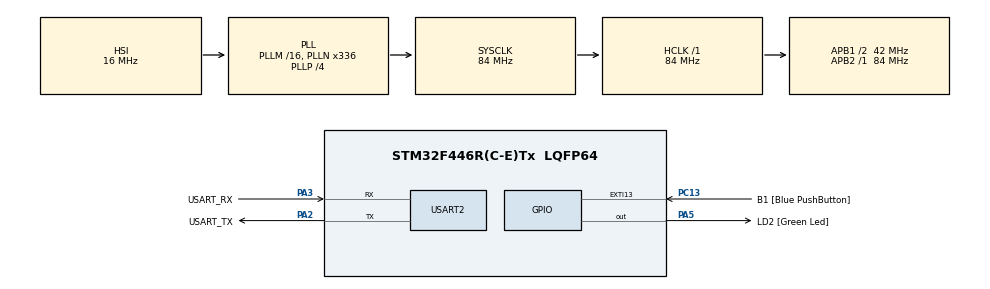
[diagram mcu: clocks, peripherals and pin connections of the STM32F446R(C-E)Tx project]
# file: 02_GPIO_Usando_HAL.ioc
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Mcu.Family=STM32F4
Mcu.Name=STM32F446R(C-E)Tx
Mcu.Package=LQFP64
NVIC.PriorityGroup=NVIC_PRIORITYGROUP_0
PA13.GPIO_Label=TMS
PA13.Mode=Serial_Wire
PA13.Signal=SYS_JTMS-SWDIO
PA14.GPIO_Label=TCK
PA14.Mode=Serial_Wire
PA14.Signal=SYS_JTCK-SWCLK
PA2.GPIO_Label=USART_TX
PA2.Mode=Asynchronous
PA2.Signal=USART2_TX
PA3.GPIO_Label=USART_RX
PA3.Mode=Asynchronous
PA3.Signal=USART2_RX
PA5.GPIO_Label=LD2 [Green Led]
PA5.Signal=GPIO_Output
PB3.GPIO_Label=SWO
PB3.Signal=SYS_JTDO-SWO
PC13.GPIO_Label=B1 [Blue PushButton]
PC13.GPIO_ModeDefaultEXTI=GPIO_MODE_IT_FALLING
PC13.Signal=GPXTI13
PC14-OSC32_IN.Mode=LSE-External-Oscillator
PC14-OSC32_IN.Signal=RCC_OSC32_IN
PC15-OSC32_OUT.Mode=LSE-External-Oscillator
PC15-OSC32_OUT.Signal=RCC_OSC32_OUT
PH0-OSC_IN.Mode=HSE-External-Oscillator
PH0-OSC_IN.Signal=RCC_OSC_IN
PH1-OSC_OUT.Mode=HSE-External-Oscillator
PH1-OSC_OUT.Signal=RCC_OSC_OUT
ProjectManager.HeapSize=0x200
ProjectManager.StackSize=0x400
ProjectManager.TargetToolchain=STM32CubeIDE
RCC.48MHZClocksFreq_Value=84000000
RCC.AHBFreq_Value=84000000
RCC.APB1CLKDivider=RCC_HCLK_DIV2
RCC.APB1Freq_Value=42000000
RCC.APB1TimFreq_Value=84000000
RCC.APB2Freq_Value=84000000
RCC.APB2TimFreq_Value=84000000
RCC.CortexFreq_Value=84000000
RCC.FLatency-AdvancedSettings=FLASH_LATENCY_2
RCC.HCLKFreq_Value=84000000
RCC.HSE_VALUE=8000000
RCC.HSI_VALUE=16000000
RCC.PLLN=336
RCC.PLLP=RCC_PLLP_DIV4
RCC.SYSCLKFreq_VALUE=84000000
RCC.SYSCLKSource=RCC_SYSCLKSOURCE_PLLCLK
RCC.USBFreq_Value=168000000
RCC.VCOOutputFreq_Value=336000000
USART2.VirtualMode=VM_ASYNC
board=NUCLEO-F446RE

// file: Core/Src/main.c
/* USER CODE BEGIN Header */
/**
  ******************************************************************************
  * @file           : main.c
  * @brief          : Main program body
  ******************************************************************************
  * @attention
  *
  * Copyright (c) 2022 STMicroelectronics.
  * All rights reserved.
  *
  * This software is licensed under terms that can be found in the LICENSE file
  * in the root directory of this software component.
  * If no LICENSE file comes with this software, it is provided AS-IS.
  *
  ******************************************************************************
  */
/* USER CODE END Header */
#include "main.h"

UART_HandleTypeDef huart2;

void SystemClock_Config(void);
//static void MX_GPIO_Init(void);
static void MX_USART2_UART_Init(void);
/* USER CODE BEGIN PFP */

void GPIOA_5_inicializa();
void GPIOA_5_inicializa_HAL();
void GPIOC_13_inicializa_HAL();

/* USER CODE END PFP */

int main(void)
{

  /* MCU Configuration--------------------------------------------------------*/

  /* Reset of all peripherals, Initializes the Flash interface and the Systick. */
  HAL_Init();

  /* Configure the system clock */
  SystemClock_Config();

  /* Initialize all configured peripherals */
  //MX_GPIO_Init();
  MX_USART2_UART_Init();
  /* USER CODE BEGIN 2 */
  //GPIOA_5_inicializa();
  GPIOA_5_inicializa_HAL();
  GPIOC_13_inicializa_HAL();
  /* USER CODE BEGIN 2 */

  /* USER CODE END 2 */

  /* Infinite loop */
  while (1)
  {

    /* USER CODE BEGIN 3 */
//	  GPIOA->ODR = 0xFFFF;
//	  //GPIOA->ODR |= 1<<5;
//	  //GPIOA->ODR |= LD2_Pin;
//	  //GPIOA->ODR = GPIOA->ODR | 1<<5;
//	  HAL_Delay(500);
//	  GPIOA->ODR = 0x0000;
//	  //GPIOA->ODR &= ~(1<<5);
//	  //GPIOA->ODR &= ~(LD2_Pin);
//	  HAL_Delay(500);

	  while(HAL_GPIO_ReadPin(GPIOC, GPIO_PIN_13) == GPIO_PIN_RESET)
	  {
		  HAL_GPIO_TogglePin(GPIOA, GPIO_PIN_5);
		  HAL_Delay(100);
	  }

	  HAL_GPIO_WritePin(GPIOA, GPIO_PIN_5, GPIO_PIN_RESET);
  }
  /* USER CODE END 3 */
}

void SystemClock_Config(void)
{
  RCC_OscInitTypeDef RCC_OscInitStruct = {0};
  RCC_ClkInitTypeDef RCC_ClkInitStruct = {0};

  /** Configure the main internal regulator output voltage
  */
  __HAL_RCC_PWR_CLK_ENABLE();
  __HAL_PWR_VOLTAGESCALING_CONFIG(PWR_REGULATOR_VOLTAGE_SCALE3);

  /** Initializes the RCC Oscillators according to the specified parameters
  * in the RCC_OscInitTypeDef structure.
  */
  RCC_OscInitStruct.OscillatorType = RCC_OSCILLATORTYPE_HSI;
  RCC_OscInitStruct.HSIState = RCC_HSI_ON;
  RCC_OscInitStruct.HSICalibrationValue = RCC_HSICALIBRATION_DEFAULT;
  RCC_OscInitStruct.PLL.PLLState = RCC_PLL_ON;
  RCC_OscInitStruct.PLL.PLLSource = RCC_PLLSOURCE_HSI;
  RCC_OscInitStruct.PLL.PLLM = 16;
  RCC_OscInitStruct.PLL.PLLN = 336;
  RCC_OscInitStruct.PLL.PLLP = RCC_PLLP_DIV4;
  RCC_OscInitStruct.PLL.PLLQ = 2;
  RCC_OscInitStruct.PLL.PLLR = 2;
  if (HAL_RCC_OscConfig(&RCC_OscInitStruct) != HAL_OK)
  {
    Error_Handler();
  }

  /** Initializes the CPU, AHB and APB buses clocks
  */
  RCC_ClkInitStruct.ClockType = RCC_CLOCKTYPE_HCLK|RCC_CLOCKTYPE_SYSCLK
                              |RCC_CLOCKTYPE_PCLK1|RCC_CLOCKTYPE_PCLK2;
  RCC_ClkInitStruct.SYSCLKSource = RCC_SYSCLKSOURCE_PLLCLK;
  RCC_ClkInitStruct.AHBCLKDivider = RCC_SYSCLK_DIV1;
  RCC_ClkInitStruct.APB1CLKDivider = RCC_HCLK_DIV2;
  RCC_ClkInitStruct.APB2CLKDivider = RCC_HCLK_DIV1;

  if (HAL_RCC_ClockConfig(&RCC_ClkInitStruct, FLASH_LATENCY_2) != HAL_OK)
  {
    Error_Handler();
  }
}

static void MX_USART2_UART_Init(void)
{

  huart2.Instance = USART2;
  huart2.Init.BaudRate = 115200;
  huart2.Init.WordLength = UART_WORDLENGTH_8B;
  huart2.Init.StopBits = UART_STOPBITS_1;
  huart2.Init.Parity = UART_PARITY_NONE;
  huart2.Init.Mode = UART_MODE_TX_RX;
  huart2.Init.HwFlowCtl = UART_HWCONTROL_NONE;
  huart2.Init.OverSampling = UART_OVERSAMPLING_16;
  if (HAL_UART_Init(&huart2) != HAL_OK)
  {
    Error_Handler();
  }

}

static void MX_GPIO_Init(void)
{
  GPIO_InitTypeDef GPIO_InitStruct = {0};

  /* GPIO Ports Clock Enable */
  __HAL_RCC_GPIOC_CLK_ENABLE();
  __HAL_RCC_GPIOH_CLK_ENABLE();
  __HAL_RCC_GPIOA_CLK_ENABLE();
  __HAL_RCC_GPIOB_CLK_ENABLE();

  /*Configure GPIO pin Output Level */
  HAL_GPIO_WritePin(LD2_GPIO_Port, LD2_Pin, GPIO_PIN_RESET);

  /*Configure GPIO pin : B1_Pin */
  GPIO_InitStruct.Pin = B1_Pin;
  GPIO_InitStruct.Mode = GPIO_MODE_IT_FALLING;
  GPIO_InitStruct.Pull = GPIO_NOPULL;
  HAL_GPIO_Init(B1_GPIO_Port, &GPIO_InitStruct);

  /*Configure GPIO pin : LD2_Pin */
  GPIO_InitStruct.Pin = LD2_Pin;
  GPIO_InitStruct.Mode = GPIO_MODE_OUTPUT_PP;
  GPIO_InitStruct.Pull = GPIO_NOPULL;
  GPIO_InitStruct.Speed = GPIO_SPEED_FREQ_LOW;
  HAL_GPIO_Init(LD2_GPIO_Port, &GPIO_InitStruct);

}

/* USER CODE BEGIN 4 */
//Inicializa o PORTA.5 (led)
void GPIOA_5_inicializa()
{
#if MASCARA
	uint32_t tmpreg = 0;
	RCC->AHB1ENR |= RCC_AHB1ENR_GPIOAEN; //Habilita o clock do PORTA
	tmpreg = RCC->AHB1ENR; //Aguarda estabilizar

	GPIOA->MODER = (GPIOA->MODER & ~GPIO_MODER_MODE5_Msk) | GPIO_MODER_MODE5_0;//M. saída (01)

	GPIOA->OTYPER = (GPIOA->OTYPER & ~GPIO_OTYPER_OT5_Msk); //Tipo push-pull (0)

	GPIOA->OSPEEDR = (GPIOA->OSPEEDR & ~GPIO_OSPEEDR_OSPEED5_Msk) | GPIO_OSPEEDER_OSPEEDR5_1;//Velocidade fast (10)

	GPIOA->PUPDR = (GPIOA->PUPDR & ~GPIO_PUPDR_PUPD5_Msk); //Sem resistores internos (00)

	//GPIOA->ODR = (GPIOA->ODR & ~GPIO_ODR_OD5_Msk); //Estado inicial '0'
	GPIOA->BSRR = GPIO_BSRR_BR5; //Estado inicial resetado '0’
#else
	uint32_t tmpreg = 0;
	RCC->AHB1ENR |= 0x01; //Habilita o clock do PORTA

	tmpreg = RCC->AHB1ENR; //Aguarda estabilizar

	GPIOA->MODER = (GPIOA->MODER & ~(0x3<<(2*5))) | (0x1<<(2*5));//Modo saída (01)

	GPIOA->OTYPER = (GPIOA->OTYPER & ~0x1<<5); //Tipo push-pull (0)

	GPIOA->OSPEEDR = (GPIOA->OSPEEDR & ~(0x3<<(2*5))) | (0x2<<(2*5)); //Velocidade fast (10)

	GPIOA->PUPDR = (GPIOA->PUPDR & ~(0x3<<(2*5))); //Sem resistores internos (00)

	//GPIOA->ODR = (GPIOA->ODR & ~0x1<<5); //Estado inicial '0’
	GPIOA->BSRR = 0x1<<(5+16); //Estado inicial resetado '0’
#endif

}

//Inicializa o PORTA.5 (led)
void GPIOA_5_inicializa_HAL()
{
	//Cria uma estrutura de inicialização
	GPIO_InitTypeDef GPIO_InitStruct;

	//Habilita o clock do periférico
	__HAL_RCC_GPIOA_CLK_ENABLE();

	//Preenche os parâmetro na estrutura de inicialização
	GPIO_InitStruct.Pin = GPIO_PIN_5;
	GPIO_InitStruct.Mode = GPIO_MODE_OUTPUT_PP;
	GPIO_InitStruct.Pull = GPIO_NOPULL;
	GPIO_InitStruct.Speed = GPIO_SPEED_FREQ_HIGH;

	//Chama a função de inicialização
	HAL_GPIO_Init(GPIOA, &GPIO_InitStruct);
}

//Inicializa o PORTC.13 (B1)
void GPIOC_13_inicializa_HAL()
{
	//Cria uma estrutura de inicialização
	GPIO_InitTypeDef GPIO_InitStruct;

	//Habilita o clock do periférico
	__HAL_RCC_GPIOC_CLK_ENABLE();

	//Preenche os parâmetro na estrutura de inicialização
	GPIO_InitStruct.Pin = GPIO_PIN_13;
	GPIO_InitStruct.Mode = GPIO_MODE_INPUT;
	GPIO_InitStruct.Pull = GPIO_NOPULL;

	//Chama a função de inicialização
	HAL_GPIO_Init(GPIOC, &GPIO_InitStruct);
}
/* USER CODE END 4 */

void Error_Handler(void)
{
  __disable_irq();
  while (1)
  {
  }
}
